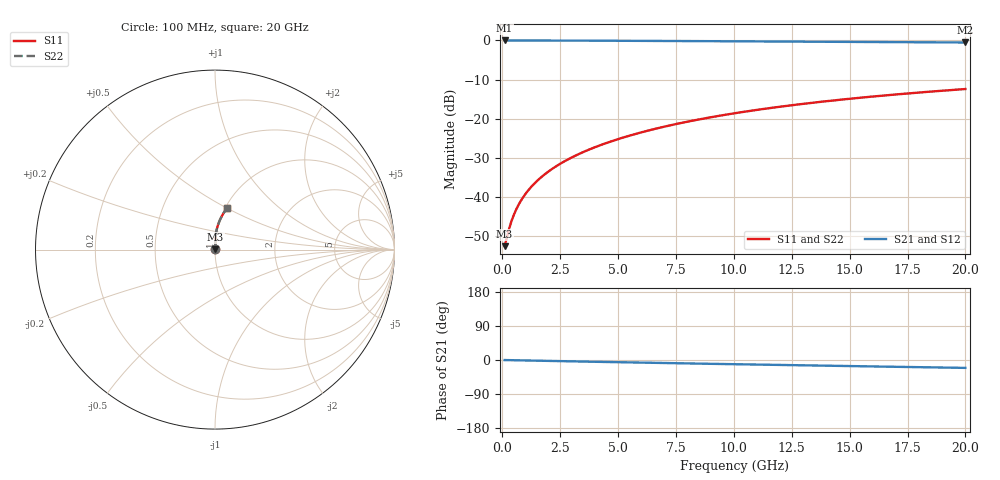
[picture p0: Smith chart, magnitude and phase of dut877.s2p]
! Touchstone file exported from HFSS 2024.1.0
!  File:  C:/UserFiles/LocalFiles/RDL_TSV_Batchsim/temp_RDL_bottom_877_1779865326.aedt
!  Generated:  03:04:26 PM May 27, 2026
!  Design:  RDL_bottom
!  Project:  temp_RDL_bottom_877_1779865326
!  Setup:  Setup1
!  Solution:  Sweep
! Variables:
!  dtsv = 10.80580581um
!  hbump = 3um
!  htsv = 71.97um
!  ldown = 230.17um
!  lrdl = 100um
!  p = 40
!  p1 = 58.94um
!  rhole = 1um
!  t = 450um
!  tdown = 2.03um
!  trdl = 3.915915916um
!  wdown = 24.41um
!  wrdl = 20um
# GHz S MA R 50.000000
! Terminal data exported
! Port[1] = RDL1_T1
! Port[2] = RDL1_T2
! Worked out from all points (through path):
!   200 points, 100 MHz to 20 GHz, reference 50 ohm
!   highest |S21| = -0.02 dB at 100 MHz (marker M1); lowest = -0.5 dB at 20 GHz (marker M2)
!   group delay of S21, straight-line fit = 2.86 ps
!   lowest |S11| = -52.5 dB at 100 MHz (marker M3), VSWR 1.00, Z = 50.2 + j0.114 ohm
!   |S11| at or under -10 dB: start of sweep to end of sweep
!   |S22| runs from -52.5 to -12.4 dB; largest |S21 - S12| = 2.4e-15
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0.1  0.002363 28.7  0.9979 -0.1  0.9979 -0.1  0.002363 28.7
! Gamma 0 0 0 0
! Port Impedance 50 0 50 0
0.3  0.003993 57.2  0.9978 -0.4  0.9978 -0.4  0.003993 57.2
0.4  0.004961 63.4  0.9977 -0.5  0.9977 -0.5  0.004961 63.4
0.5  0.005951 67.5  0.9976 -0.6  0.9976 -0.6  0.005951 67.5
0.6  0.006947 70.5  0.9975 -0.7  0.9975 -0.7  0.006947 70.5
0.8  0.008949 74.5  0.9973 -1.0  0.9973 -1.0  0.008949 74.5
1  0.01096 77.2  0.9971 -1.2  0.9971 -1.2  0.01096 77.2
1.2  0.01299 79.2  0.9968 -1.5  0.9968 -1.5  0.01299 79.2
1.4  0.01504 80.7  0.9966 -1.7  0.9966 -1.7  0.01504 80.7
1.7  0.01814 82.4  0.9962 -2.0  0.9962 -2.0  0.01814 82.4
2.2  0.02341 84.4  0.9954 -2.6  0.9954 -2.6  0.02341 84.4
2.8  0.02987 85.9  0.9943 -3.3  0.9943 -3.3  0.02987 85.9
3.5  0.03762 86.9  0.9928 -4.1  0.9928 -4.1  0.03762 86.9
4.2  0.04558 87.5  0.9911 -4.9  0.9911 -4.9  0.04558 87.5
5  0.05493 87.7  0.989 -5.8  0.989 -5.8  0.05493 87.7
5.9  0.06573 87.7  0.9864 -6.8  0.9864 -6.8  0.06573 87.7
6.8  0.07677 87.3  0.9837 -7.8  0.9837 -7.8  0.07677 87.3
8.4  0.0968 86.2  0.9788 -9.4  0.9788 -9.4  0.0968 86.2
10.1  0.1183 84.7  0.9734 -11.2  0.9734 -11.2  0.1183 84.7
13.4  0.16 81.2  0.9627 -14.5  0.9627 -14.5  0.16 81.2
16.7  0.2005 77.6  0.9516 -17.7  0.9516 -17.7  0.2005 77.5
20  0.2394 74.0  0.9399 -20.8  0.9399 -20.8  0.2394 74.0
